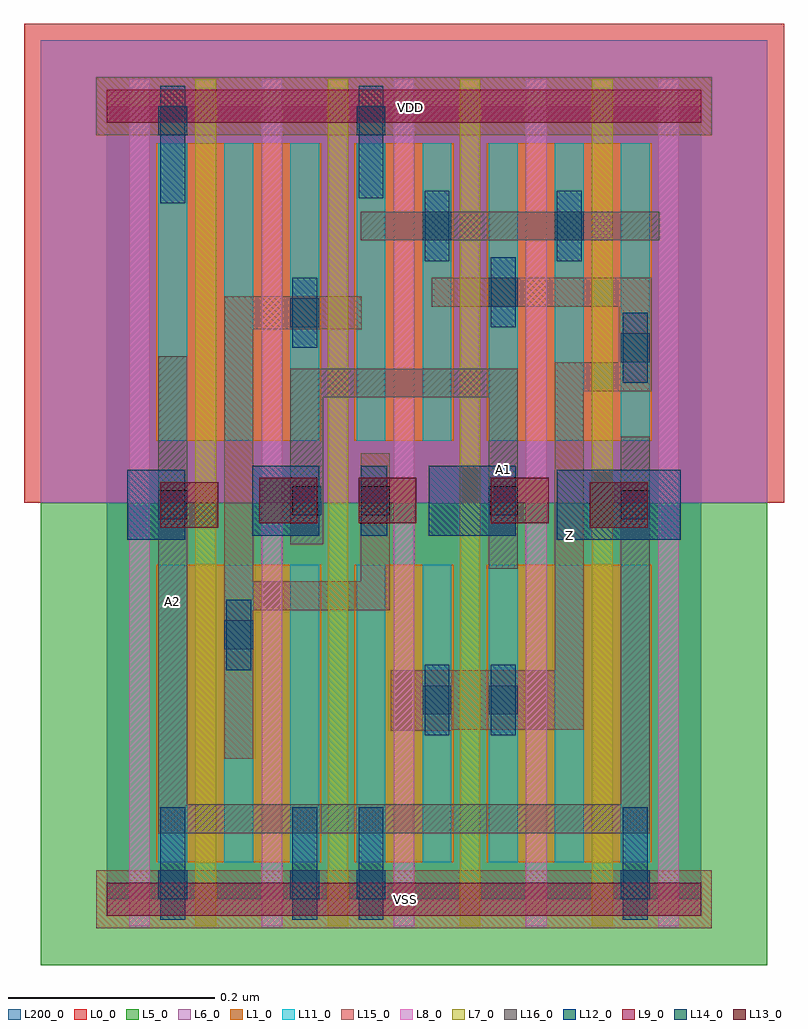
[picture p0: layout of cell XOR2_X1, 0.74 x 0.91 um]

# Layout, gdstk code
import gdstk
lib = gdstk.Library(unit=1e-6, precision=1e-09)
def R(c, l, rs):  # rectangles x0, y0, x1, y1
    for r in rs: c.add(gdstk.rectangle(r[:2], r[2:], *l))
def A(c, l, x, y, w, h, nx, ny, dx, dy):  # array of equal rectangles
    R(c, l, [(x+i*dx, y+j*dy, x+i*dx+w, y+j*dy+h) for i in range(nx) for j in range(ny)])
def P(c, l, *ps):  # polygons
    for p in ps: c.add(gdstk.Polygon(p, *l))
L0_0 = (0, 0)
L1_0 = (1, 0)
L5_0 = (5, 0)
L6_0 = (6, 0)
L7_0 = (7, 0)
L8_0 = (8, 0)
L9_0 = (9, 0)
L11_0 = (11, 0)
L12_0 = (12, 0)
L13_0 = (13, 0)
L14_0 = (14, 0)
L15_0 = (15, 0)
L16_0 = (16, 0)
L200_0 = (200, 0)

xor2_x1 = lib.new_cell('XOR2_X1')
R(xor2_x1, L0_0, [(-0.08,0.384,0.656,0.848)])
R(xor2_x1, L1_0, [(0.048,0.036,0.208,0.324), (0.24,0.036,0.336,0.324), (0.368,0.036,0.528,0.324), (0.048,0.444,0.208,0.732), (0.24,0.444,0.336,0.732), (0.368,0.444,0.528,0.732)])
R(xor2_x1, L5_0, [(-0.064,-0.064,0.64,0.384)])
R(xor2_x1, L6_0, [(-0.064,0.384,0.64,0.832)])
A(xor2_x1, L7_0, 0.086, -0.026, 0.02, 0.82, 4, 1, 0.128, 0)
A(xor2_x1, L8_0, 0.022, -0.026, 0.02, 0.82, 5, 1, 0.128, 0)
R(xor2_x1, L9_0, [(0,-0.016,0.576,0.016), (0,0.752,0.576,0.784)])
A(xor2_x1, L11_0, 0.05, 0.036, 0.028, 0.288, 8, 2, 0.064, 0.408)
R(xor2_x1, L12_0, [(0.052,-0.02,0.076,0.089), (0.18,-0.02,0.204,0.089), (0.244,-0.02,0.268,0.089), (0.5,-0.02,0.524,0.089), (0.308,0.159,0.332,0.227), (0.372,0.159,0.396,0.227), (0.116,0.222,0.14,0.29), (0.02,0.348,0.076,0.416), (0.436,0.348,0.556,0.416), (0.141,0.352,0.206,0.42), (0.246,0.352,0.272,0.42), (0.312,0.352,0.396,0.42), (0.5,0.5,0.524,0.568), (0.18,0.534,0.204,0.602), (0.372,0.554,0.396,0.622), (0.308,0.618,0.332,0.686), (0.436,0.618,0.46,0.686), (0.052,0.674,0.076,0.788), (0.244,0.679,0.268,0.788)])
R(xor2_x1, L13_0, [(0.052,0.36,0.108,0.404), (0.468,0.36,0.524,0.404), (0.148,0.364,0.204,0.408), (0.244,0.364,0.3,0.408), (0.372,0.364,0.428,0.408)])
R(xor2_x1, L14_0, [(0.05,0,0.078,0.028), (0.178,0,0.206,0.028), (0.242,0,0.27,0.028), (0.498,0,0.526,0.028), (0.306,0.179,0.334,0.207), (0.37,0.179,0.398,0.207), (0.114,0.242,0.142,0.27), (0.05,0.368,0.078,0.396), (0.498,0.368,0.526,0.396), (0.18,0.372,0.208,0.4), (0.246,0.372,0.274,0.4), (0.37,0.372,0.398,0.4), (0.498,0.52,0.526,0.548), (0.178,0.554,0.206,0.582), (0.37,0.574,0.398,0.602), (0.306,0.638,0.334,0.666), (0.434,0.638,0.462,0.666), (0.05,0.74,0.078,0.768), (0.242,0.74,0.27,0.768)])
R(xor2_x1, L15_0, [(-0.01,-0.028,0.586,0.028), (-0.01,0.74,0.586,0.796)])
P(xor2_x1, L15_0, [(0.114,0.136),(0.142,0.136),(0.142,0.28),(0.274,0.28),(0.274,0.432),(0.246,0.432),(0.246,0.308),(0.142,0.308),(0.142,0.552),(0.247,0.552),(0.247,0.584),(0.114,0.584)],
  [(0.315,0.574),(0.496,0.574),(0.496,0.52),(0.434,0.52),(0.434,0.222),(0.275,0.222),(0.275,0.163),(0.334,0.163),(0.334,0.164),(0.462,0.164),(0.462,0.492),(0.528,0.492),(0.528,0.602),(0.315,0.602)])
R(xor2_x1, L16_0, [(0.246,0.638,0.535,0.666)])
P(xor2_x1, L16_0, [(0.178,0.344),(0.21,0.344),(0.21,0.486),(0.37,0.486),(0.37,0.32),(0.398,0.32),(0.398,0.514),(0.178,0.514)],
  [(0.05,0.064),(0.526,0.064),(0.526,0.448),(0.498,0.448),(0.498,0.092),(0.078,0.092),(0.078,0.526),(0.05,0.526)])
R(xor2_x1, L200_0, [(0,0,0.576,0.768)])
xor2_x1.add(gdstk.Label('VSS', (0.289,0), layer=15, texttype=20))
xor2_x1.add(gdstk.Label('Z', (0.448,0.352), layer=15, texttype=20))
xor2_x1.add(gdstk.Label('VDD', (0.294,0.767), layer=15, texttype=20))
xor2_x1.add(gdstk.Label('A2', (0.064,0.288), layer=16, texttype=20))
xor2_x1.add(gdstk.Label('A1', (0.384,0.416), layer=16, texttype=20))

lib.write_gds('XOR2_X1.gds')
